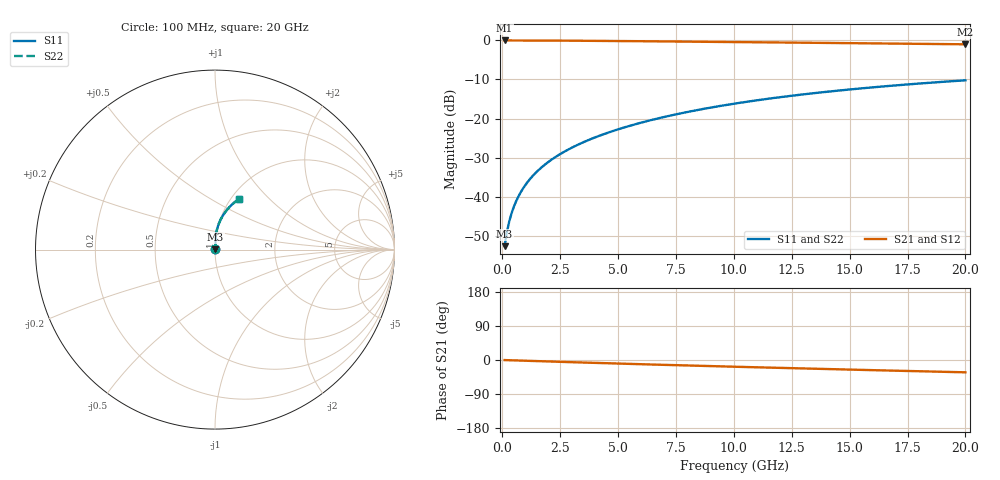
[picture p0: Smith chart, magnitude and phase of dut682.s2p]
! Touchstone file exported from HFSS 2024.1.0
!  File:  C:/UserFiles/LocalFiles/RDL_TSV_Batchsim/temp_RDL_top_682_1779782508.aedt
!  Generated:  04:03:56 PM May 26, 2026
!  Design:  RDL_top
!  Project:  temp_RDL_top_682_1779782508
!  Setup:  Setup1
!  Solution:  Sweep
! Variables:
!  dtsv = 10.80580581um
!  hbump = 3um
!  htsv = 67.99um
!  ldown = 100um
!  lrdl = 448.85um
!  p = 40
!  p1 = 52.56um
!  rhole = 1um
!  t = 450um
!  tdown = 3.915915916um
!  trdl = 4.36um
!  wdown = 15.38538539um
!  wrdl = 23.14um
# GHz S MA R 50.000000
! Terminal data exported
! Port[1] = Box2_T1
! Port[2] = Box2_T2
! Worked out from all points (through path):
!   200 points, 100 MHz to 20 GHz, reference 50 ohm
!   highest |S21| = -0.02 dB at 100 MHz (marker M1); lowest = -1.0 dB at 20 GHz (marker M2)
!   group delay of S21, straight-line fit = 4.46 ps
!   lowest |S11| = -52.7 dB at 100 MHz (marker M3), VSWR 1.00, Z = 50.2 + j0.153 ohm
!   |S11| at or under -10 dB: start of sweep to end of sweep
!   |S22| runs from -52.7 to -10.2 dB; largest |S21 - S12| = 3.2e-15
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0.1  0.002327 41.0  0.9982 -0.2  0.9982 -0.2  0.002327 41.0
! Gamma 0 0 0 0
! Port Impedance 50 0 50 0
0.2  0.003525 58.3  0.9981 -0.4  0.9981 -0.4  0.003525 58.3
0.3  0.004826 66.1  0.998 -0.6  0.998 -0.6  0.004826 66.1
0.4  0.006138 70.6  0.9978 -0.8  0.9978 -0.8  0.006138 70.6
0.5  0.007454 73.7  0.9977 -1.0  0.9977 -1.0  0.007454 73.7
0.6  0.008777 75.9  0.9976 -1.2  0.9976 -1.2  0.008777 75.9
0.8  0.01145 79.0  0.9973 -1.6  0.9973 -1.6  0.01145 79.0
1.1  0.01551 81.7  0.9968 -2.2  0.9968 -2.2  0.01551 81.7
1.5  0.02101 83.8  0.996 -2.9  0.996 -2.9  0.02101 83.8
1.8  0.02519 84.8  0.9953 -3.5  0.9953 -3.5  0.02519 84.8
2.1  0.02941 85.5  0.9944 -4.1  0.9944 -4.1  0.02941 85.5
2.7  0.03801 86.4  0.9924 -5.2  0.9924 -5.2  0.03801 86.4
3.5  0.04976 86.8  0.9891 -6.7  0.9891 -6.7  0.04976 86.8
4.2  0.06034 86.8  0.9858 -8.0  0.9858 -8.0  0.06034 86.8
5  0.07274 86.6  0.9817 -9.4  0.9817 -9.4  0.07274 86.6
6.8  0.1016 85.1  0.9715 -12.5  0.9715 -12.5  0.1016 85.1
8.4  0.1281 83.1  0.9621 -15.2  0.9621 -15.2  0.1281 83.1
10.1  0.1564 80.6  0.9519 -17.9  0.9519 -17.9  0.1564 80.6
11.7  0.1828 78.1  0.9423 -20.4  0.9423 -20.4  0.1828 78.1
13.4  0.2103 75.4  0.932 -22.9  0.932 -22.9  0.2103 75.4
16.7  0.2614 70.0  0.9119 -27.8  0.9119 -27.8  0.2614 70.0
20  0.3086 64.9  0.8914 -32.5  0.8914 -32.5  0.3086 64.9
